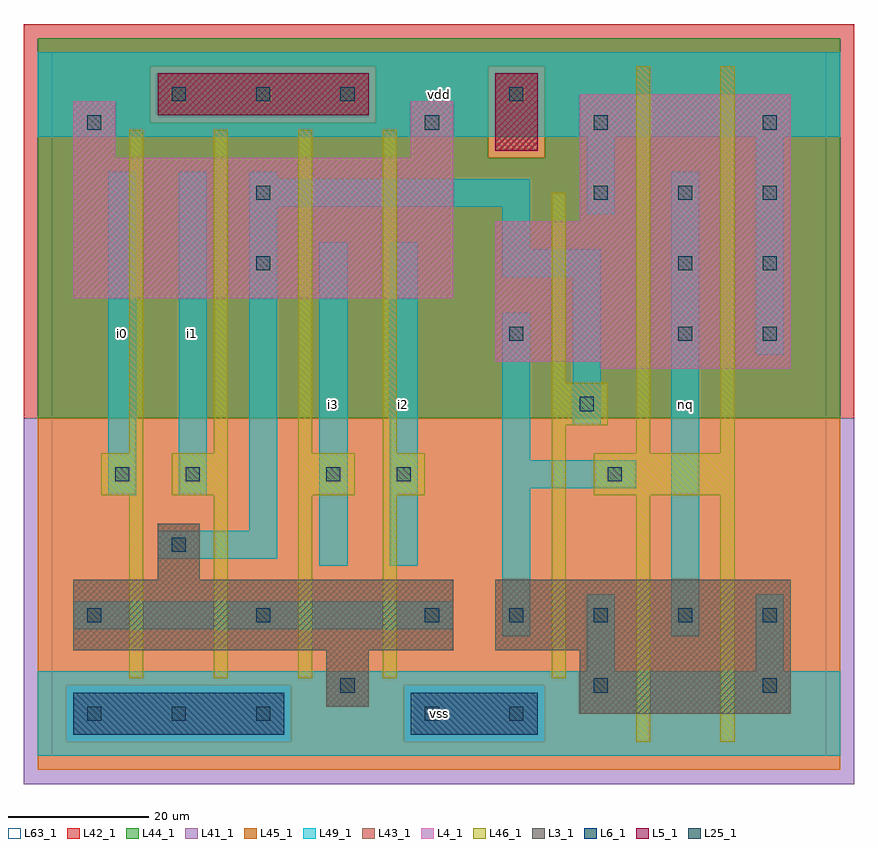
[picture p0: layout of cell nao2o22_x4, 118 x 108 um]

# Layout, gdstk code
import gdstk
lib = gdstk.Library(unit=1e-6, precision=1e-09)
def R(c, l, rs):  # rectangles x0, y0, x1, y1
    for r in rs: c.add(gdstk.rectangle(r[:2], r[2:], *l))
def A(c, l, x, y, w, h, nx, ny, dx, dy):  # array of equal rectangles
    R(c, l, [(x+i*dx, y+j*dy, x+i*dx+w, y+j*dy+h) for i in range(nx) for j in range(ny)])
L3_1 = (3, 1)
L4_1 = (4, 1)
L5_1 = (5, 1)
L6_1 = (6, 1)
L25_1 = (25, 1)
L41_1 = (41, 1)
L42_1 = (42, 1)
L43_1 = (43, 1)
L44_1 = (44, 1)
L45_1 = (45, 1)
L46_1 = (46, 1)
L49_1 = (49, 1)
L63_1 = (63, 1)

nao2o22_x4 = lib.new_cell('nao2o22_x4')
R(nao2o22_x4, L3_1, [(75,6,105,15), (39,7,45,15), (3,15,57,25), (63,15,105,25), (15,25,21,33)])
R(nao2o22_x4, L4_1, [(78,55,105,56), (63,56,105,76), (3,65,57,85), (75,76,105,94), (3,85,9,93), (51,85,57,93)])
R(nao2o22_x4, L5_1, [(63,86,69,97), (15,91,45,97)])
R(nao2o22_x4, L6_1, [(3,3,33,9), (3,3,33,9), (51,3,69,9), (51,3,69,9)])
A(nao2o22_x4, L25_1, 5, 5, 2, 2, 3, 1, 12, 0)
A(nao2o22_x4, L25_1, 5, 19, 2, 2, 3, 1, 24, 0)
A(nao2o22_x4, L25_1, 65, 19, 2, 2, 4, 1, 12, 0)
A(nao2o22_x4, L25_1, 77, 79, 2, 2, 3, 1, 12, 0)
A(nao2o22_x4, L25_1, 53, 89, 2, 2, 3, 1, 24, 0)
A(nao2o22_x4, L25_1, 17, 93, 2, 2, 3, 1, 12, 0)
R(nao2o22_x4, L25_1, [(53,5,55,7), (65,5,67,7), (41,9,43,11), (77,9,79,11), (101,9,103,11), (17,29,19,31), (9,39,11,41), (19,39,21,41), (39,39,41,41), (49,39,51,41), (79,39,81,41), (75,49,77,51), (65,59,67,61), (89,59,91,61), (101,59,103,61), (29,69,31,71), (89,69,91,71), (101,69,103,71), (29,79,31,81), (5,89,7,91), (65,93,67,95)])
R(nao2o22_x4, L41_1, [(-4,-4,114,48)])
R(nao2o22_x4, L42_1, [(-4,48,114,104)])
R(nao2o22_x4, L43_1, [(3,3,33,9), (51,3,69,9), (75,6,105,15), (39,7,45,15), (3,15,57,25), (63,15,105,25), (15,25,21,33), (78,55,105,56), (63,56,105,76), (3,65,57,85), (75,76,105,94), (3,85,9,93), (51,85,57,93), (63,86,69,97), (15,91,45,97)])
R(nao2o22_x4, L44_1, [(2,2,34,10), (50,2,70,10), (-2,48,112,85), (-2,85,62,90), (70,85,112,98), (-2,90,14,98), (46,90,62,98), (-2,98,112,102)])
R(nao2o22_x4, L45_1, [(-2,-2,112,2), (-2,2,2,10), (34,2,50,10), (70,2,112,10), (-2,10,112,48), (62,85,70,98), (14,90,46,98)])
A(nao2o22_x4, L46_1, 11, 11, 2, 26, 4, 1, 12, 0)
A(nao2o22_x4, L46_1, 11, 43, 2, 46, 4, 1, 12, 0)
R(nao2o22_x4, L46_1, [(83,2,85,37), (95,2,97,37), (71,11,73,47), (7,37,13,43), (17,37,25,43), (35,37,43,43), (47,37,53,43), (77,37,97,43), (83,43,85,98), (95,43,97,98), (71,47,79,53), (71,53,73,80)])
R(nao2o22_x4, L49_1, [(-2,0,112,12), (76,12,80,23), (100,12,104,23), (64,17,68,38), (88,17,92,83), (3,18,57,22), (38,27,42,73), (48,27,52,73), (15,28,32,32), (28,32,32,78), (8,37,12,83), (18,37,22,83), (64,38,83,42), (64,42,68,63), (74,47,78,68), (100,57,104,88), (64,68,78,72), (64,72,68,78), (76,77,80,88), (28,78,68,82), (28,82,32,83), (-2,88,112,100)])
R(nao2o22_x4, L63_1, [(0,0,110,100)])
nao2o22_x4.add(gdstk.Label('i0', (10,60), layer=49, texttype=1))
nao2o22_x4.add(gdstk.Label('i3', (40,50), layer=49, texttype=1))
nao2o22_x4.add(gdstk.Label('i1', (20,60), layer=49, texttype=1))
nao2o22_x4.add(gdstk.Label('vss', (55,6), layer=49, texttype=1))
nao2o22_x4.add(gdstk.Label('i2', (50,50), layer=49, texttype=1))
nao2o22_x4.add(gdstk.Label('vdd', (55,94), layer=49, texttype=1))
nao2o22_x4.add(gdstk.Label('nq', (90,50), layer=49, texttype=1))

lib.write_gds('nao2o22_x4.gds')
